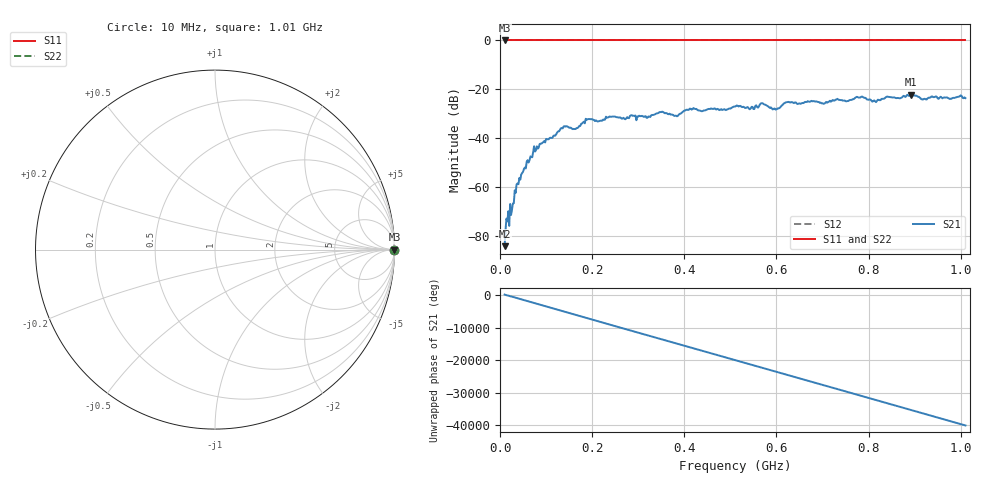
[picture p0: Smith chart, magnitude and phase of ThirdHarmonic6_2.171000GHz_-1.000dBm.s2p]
! 8/17/2025 1:54:23 AM
! C:\ANRITSUVNA\TEMP\TEMP.S2P
! CHANNEL.1
! TR.MEASUREMENT
! RAW.DATA
! RF.CORRECTION.OFF
! AVERAGING.OFF
! IF.BANDWIDTH: 5KHZ
! SWEEPTYPE:  FREQ.SWEEP(Linear)
! Reference Plane Port Info
! PORT:  PORT1  PORT2
! DISTANCE:  0  m  0  m
! TIME:  0  s  0  s
! PHASE.OFFSET:  0  deg.  0  deg.
! LOSS:  0  dB  0  dB
! REF.LOSS:  0  dB  0  dB
! REF.FREQ:  0  Hz  0  Hz
! Power Info
! POWER:  -20  dBm  -20  dBm
! EFF.POWER:  -20  dBm  -20  dBm
! SOURCE.ATTEN:  0  dB  0  dB
! TEST.ATTEN:  0  dB  0  dB
# GHZ S RI R 50.0
! FREQ.GHZ  S11RE  S11IM  S21RE  S21IM  S12RE  S12IM  S22RE  S22IM
!; PortSelection: Port_12
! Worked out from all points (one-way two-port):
!   501 points, 10 MHz to 1.01 GHz, reference 50 ohm
!   highest |S21| = -22.20 dB at 892 MHz (marker M1); lowest = -84.3 dB at 10 MHz (marker M2)
!   lowest |S11| = 0.0 dB at 10 MHz (marker M3)
!   |S11| at or under -10 dB: nowhere
!   |S22| runs from 0.0 to 0.0 dB; largest |S21 - S12| = 1.1
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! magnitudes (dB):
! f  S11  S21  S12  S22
! 10 MHz  0.0  -84.3  0.0  0.0
! 24 MHz  0.0  -71.5  0.0  0.0
! 40 MHz  0.0  -58.9  0.0  0.0
! 76 MHz  0.0  -45.5  0.0  0.0
! 136 MHz  0.0  -36.0  0.0  0.0
! 162 MHz  0.0  -36.3  0.0  0.0
! 178 MHz  0.0  -34.0  0.0  0.0
! 190 MHz  0.0  -32.3  0.0  0.0
! 322 MHz  0.0  -31.2  0.0  0.0
! 344 MHz  0.0  -29.7  0.0  0.0
! 382 MHz  0.0  -30.8  0.0  0.0
! 416 MHz  0.0  -28.3  0.0  0.0
! 510 MHz  0.0  -27.1  0.0  0.0
! 570 MHz  0.0  -25.7  0.0  0.0
! 596 MHz  0.0  -27.9  0.0  0.0
! 622 MHz  0.0  -25.3  0.0  0.0
! 678 MHz  0.0  -24.9  0.0  0.0
! 784 MHz  0.0  -23.1  0.0  0.0
! 812 MHz  0.0  -24.6  0.0  0.0
! 844 MHz  0.0  -23.1  0.0  0.0
! 892 MHz  0.0  -22.2  0.0  0.0
! 1.01 GHz  0.0  -23.6  0.0  0.0
